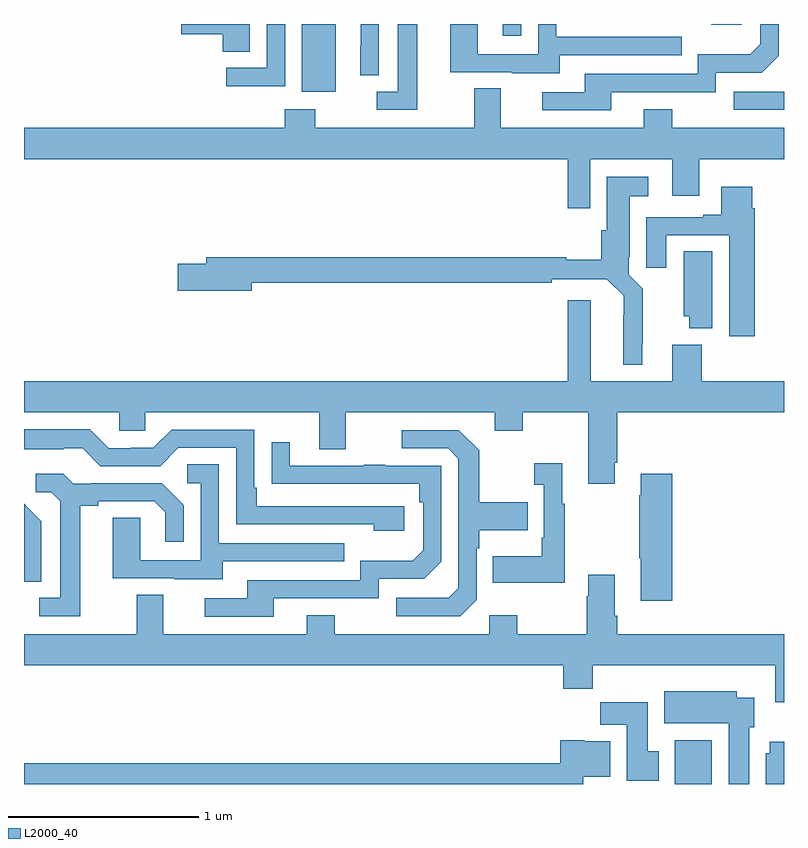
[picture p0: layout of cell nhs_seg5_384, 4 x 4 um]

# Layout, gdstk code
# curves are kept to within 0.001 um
import gdstk
lib = gdstk.Library(unit=1e-6, precision=1e-09)
def R(c, l, rs):  # rectangles x0, y0, x1, y1
    for r in rs: c.add(gdstk.rectangle(r[:2], r[2:], *l))
def P(c, l, *ps):  # polygons
    for p in ps: c.add(gdstk.Polygon(p, *l))
L2000_40 = (2000, 40)

nhs_seg5_384 = lib.new_cell('nhs_seg5_384')
R(nhs_seg5_384, L2000_40, [(138.425,858.799,138.621,859.03), (138.735,862.347,139,862.443), (136.463,862.442,136.642,862.799), (137.519,862.737,137.616,862.799), (138.617,862.796,138.778,862.799)])
P(nhs_seg5_384, L2000_40, [(137.071,862.799),(136.967,862.799),(136.967,862.443),(136.857,862.443),(136.857,862.347),(137.071,862.347)],
  [(136.189,862.799),(135.828,862.799),(135.828,862.745),(136.046,862.745),(136.046,862.654),(136.189,862.654)],
  [(137.821,862.635),(138.461,862.635),(138.461,862.731),(137.802,862.731),(137.802,862.799),(137.706,862.799),(137.706,862.641),(137.388,862.641),(137.388,862.799),(137.243,862.799),(137.243,862.545),(137.567,862.545),(137.567,862.541),(137.821,862.541)],
  [(138.091,862.44),(138.642,862.44),(138.642,862.542),(138.882,862.542),(138.972,862.632),(138.972,862.799),(138.876,862.799),(138.876,862.692),(138.823,862.639),(138.546,862.639),(138.546,862.536),(137.951,862.536),(137.951,862.44),(137.727,862.44),(137.727,862.344),(138.091,862.344)],
  [(136.866,862.799),(136.772,862.799),(136.772,862.682),(136.77,862.682),(136.77,862.528),(136.866,862.528)],
  [(136.374,862.799),(136.278,862.799),(136.278,862.569),(136.065,862.569),(136.065,862.471),(136.374,862.471)],
  [(137.979,862.088),(138.413,862.088),(138.413,861.894),(138.553,861.894),(138.553,862.088),(139,862.088),(139,862.252),(138.411,862.252),(138.411,862.351),(138.263,862.351),(138.263,862.252),(137.509,862.252),(137.509,862.46),(137.369,862.46),(137.369,862.252),(136.533,862.252),(136.533,862.351),(136.373,862.351),(136.373,862.252),(135,862.252),(135,862.088),(137.863,862.088),(137.863,861.828),(137.979,861.828)],
  [(138.253,861.115),(138.257,861.115),(138.257,861.406),(138.183,861.48),(138.183,861.574),(138.187,861.574),(138.187,861.893),(138.286,861.893),(138.286,861.994),(138.068,861.994),(138.068,861.714),(138.038,861.714),(138.038,861.557),(137.854,861.557),(137.854,861.572),(135.959,861.572),(135.959,861.536),(135.81,861.536),(135.81,861.394),(136.198,861.394),(136.198,861.436),(137.777,861.436),(137.777,861.456),(138.068,861.456),(138.156,861.368),(138.155,861.005),(138.253,861.005)],
  [(138.845,861.83),(138.832,861.83),(138.832,861.943),(138.671,861.943),(138.671,861.796),(138.575,861.796),(138.575,861.783),(138.275,861.783),(138.275,861.516),(138.379,861.516),(138.379,861.687),(138.713,861.687),(138.713,861.156),(138.845,861.156)],
  [(138.622,861.602),(138.473,861.602),(138.473,861.261),(138.5,861.261),(138.5,861.197),(138.622,861.197)],
  [(138.109,860.491),(138.122,860.491),(138.122,860.756),(139,860.756),(139,860.92),(138.566,860.92),(138.566,861.112),(138.413,861.112),(138.413,860.92),(137.983,860.92),(137.983,861.346),(137.861,861.346),(137.861,860.92),(135,860.92),(135,860.756),(135.501,860.756),(135.501,860.658),(135.639,860.658),(135.639,860.756),(136.553,860.756),(136.553,860.562),(136.693,860.562),(136.693,860.756),(137.477,860.756),(137.477,860.657),(137.625,860.657),(137.625,860.756),(137.969,860.756),(137.969,860.379),(138.109,860.379)],
  [(137.002,860.262),(136.225,860.262),(136.225,860.359),(136.212,860.359),(136.212,860.664),(135.777,860.664),(135.681,860.568),(135.563,860.568),(135.563,860.565),(135.447,860.565),(135.347,860.665),(135,860.665),(135,860.561),(135.209,860.561),(135.209,860.565),(135.309,860.565),(135.402,860.472),(135.717,860.472),(135.813,860.568),(136.116,860.568),(136.116,860.166),(136.841,860.166),(136.841,860.132),(137.002,860.132)],
  [(137.382,859.77),(137.382,860.039),(137.395,860.039),(137.395,860.135),(137.651,860.135),(137.651,860.283),(137.395,860.283),(137.395,860.555),(137.289,860.661),(136.989,860.661),(136.989,860.565),(137.232,860.565),(137.286,860.511),(137.286,859.83),(137.235,859.779),(136.959,859.779),(136.959,859.683),(137.295,859.683)],
  [(136.315,859.776),(136.866,859.776),(136.866,859.878),(137.106,859.878),(137.196,859.968),(137.196,860.475),(136.901,860.475),(136.901,860.48),(136.789,860.48),(136.789,860.475),(136.399,860.475),(136.399,860.599),(136.303,860.599),(136.303,860.38),(137.08,860.379),(137.08,860.282),(137.1,860.282),(137.1,860.028),(137.047,859.975),(136.77,859.975),(136.77,859.872),(136.175,859.872),(136.175,859.776),(135.951,859.776),(135.951,859.68),(136.315,859.68)],
  [(137.845,860.275),(137.833,860.275),(137.833,860.488),(137.685,860.488),(137.685,860.375),(137.736,860.375),(137.736,860.095),(137.724,860.095),(137.724,859.999),(137.467,859.999),(137.467,859.859),(137.845,859.859)],
  [(136.045,859.971),(136.685,859.971),(136.685,860.067),(136.026,860.067),(136.026,860.483),(135.858,860.483),(135.858,860.382),(135.93,860.382),(135.93,859.977),(135.612,859.977),(135.612,860.201),(135.467,860.201),(135.467,859.881),(135.791,859.881),(135.791,859.877),(136.045,859.877)],
  [(138.413,860.431),(138.245,860.431),(138.245,860.318),(138.238,860.318),(138.238,859.987),(138.245,859.987),(138.245,859.764),(138.413,859.764)],
  [(135.295,860.264),(135.391,860.264),(135.391,860.286),(135.686,860.286),(135.743,860.229),(135.743,860.073),(135.84,860.073),(135.84,860.266),(135.724,860.382),(135.352,860.382),(135.352,860.379),(135.258,860.379),(135.206,860.431),(135.063,860.431),(135.063,860.334),(135.144,860.334),(135.191,860.287),(135.191,859.779),(135.081,859.779),(135.081,859.683),(135.295,859.683)],
  [(135.09,860.182),(135.017,860.255),(135.018,860.256),(135,860.274),(135,859.864),(135.09,859.864)],
  [(139,859.588),(138.122,859.588),(138.122,859.684),(138.109,859.684),(138.109,859.9),(137.969,859.9),(137.969,859.787),(137.962,859.787),(137.962,859.588),(137.595,859.588),(137.595,859.687),(137.448,859.687),(137.448,859.588),(136.635,859.588),(136.635,859.687),(136.487,859.687),(136.487,859.588),(135.733,859.588),(135.733,859.796),(135.593,859.796),(135.593,859.588),(135,859.588),(135,859.424),(137.837,859.424),(137.837,859.3),(137.993,859.3),(137.993,859.424),(138.953,859.424),(138.953,859.23),(139,859.23)],
  [(138.817,859.098),(138.844,859.098),(138.844,859.252),(138.751,859.252),(138.751,859.288),(138.371,859.288),(138.371,859.118),(138.71,859.118),(138.71,858.799),(138.817,858.799)],
  [(138.34,858.972),(138.283,858.972),(138.283,859.23),(138.034,859.23),(138.034,859.112),(138.173,859.112),(138.173,858.816),(138.34,858.816)],
  [(137.944,858.836),(138.085,858.836),(138.085,859.024),(137.952,859.024),(137.952,859.03),(137.822,859.03),(137.822,858.908),(135,858.908),(135,858.799),(137.944,858.799)],
  [(139,859.021),(138.926,859.021),(138.926,858.96),(138.905,858.96),(138.905,858.799),(139,858.799)])

lib.write_gds('nhs_seg5_384.gds')
